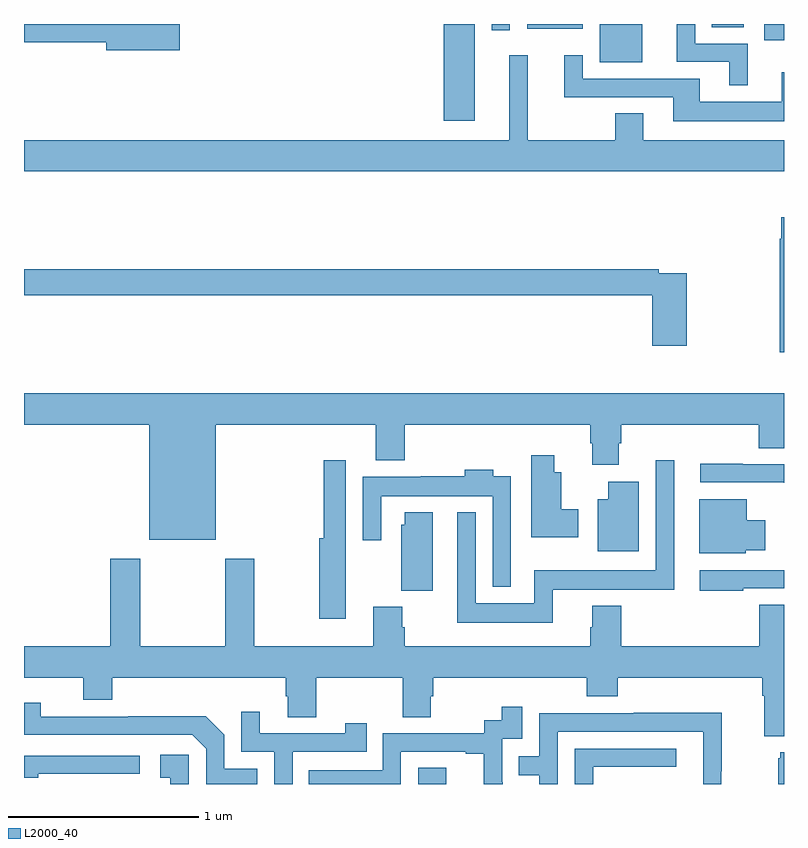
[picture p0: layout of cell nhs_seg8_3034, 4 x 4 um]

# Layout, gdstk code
import gdstk
lib = gdstk.Library(unit=1e-6, precision=1e-09)
def R(c, l, rs):  # rectangles x0, y0, x1, y1
    for r in rs: c.add(gdstk.rectangle(r[:2], r[2:], *l))
def P(c, l, *ps):  # polygons
    for p in ps: c.add(gdstk.Polygon(p, *l))
L2000_40 = (2000, 40)

nhs_seg8_3034 = lib.new_cell('nhs_seg8_3034')
R(nhs_seg8_3034, L2000_40, [(301.074,1155.9,301.222,1155.985), (301.208,1159.392,301.372,1159.9), (302.03,1159.7,302.254,1159.9), (302.897,1159.814,303,1159.9), (301.461,1159.866,301.557,1159.9), (301.649,1159.874,301.942,1159.9), (302.621,1159.882,302.788,1159.9)])
P(nhs_seg8_3034, L2000_40, [(299.821,1159.9),(299,1159.9),(299,1159.804),(299.432,1159.804),(299.432,1159.762),(299.821,1159.762)],
  [(302.809,1159.797),(302.532,1159.797),(302.532,1159.9),(302.435,1159.9),(302.435,1159.701),(302.711,1159.701),(302.711,1159.577),(302.809,1159.577)],
  [(303,1159.288),(302.26,1159.288),(302.26,1159.43),(302.113,1159.43),(302.113,1159.288),(301.652,1159.288),(301.652,1159.735),(301.553,1159.735),(301.553,1159.288),(299,1159.288),(299,1159.124),(303,1159.124)],
  [(303,1159.645),(302.987,1159.645),(302.987,1159.492),(302.557,1159.492),(302.557,1159.611),(301.941,1159.611),(301.941,1159.735),(301.844,1159.735),(301.844,1159.515),(302.417,1159.515),(302.417,1159.388),(303,1159.388)],
  [(303,1158.883),(302.985,1158.883),(302.985,1158.77),(302.977,1158.77),(302.977,1158.173),(303,1158.173)],
  [(302.489,1158.588),(302.342,1158.588),(302.342,1158.608),(299,1158.608),(299,1158.472),(302.306,1158.472),(302.306,1158.207),(302.489,1158.207)],
  [(300.01,1157.792),(300.851,1157.792),(300.851,1157.603),(301.004,1157.603),(301.004,1157.792),(301.979,1157.792),(301.979,1157.694),(301.991,1157.694),(301.991,1157.58),(302.131,1157.58),(302.131,1157.694),(302.144,1157.694),(302.144,1157.792),(302.867,1157.792),(302.867,1157.668),(303,1157.668),(303,1157.956),(299,1157.956),(299,1157.792),(299.66,1157.792),(299.66,1157.186),(300.01,1157.186)],
  [(301.918,1157.346),(301.828,1157.346),(301.828,1157.542),(301.792,1157.542),(301.792,1157.629),(301.67,1157.629),(301.67,1157.198),(301.918,1157.198)],
  [(301.784,1156.922),(302.422,1156.922),(302.422,1157.605),(302.325,1157.605),(302.325,1157.026),(301.686,1157.026),(301.686,1156.852),(301.377,1156.852),(301.377,1157.329),(301.28,1157.329),(301.28,1156.748),(301.784,1156.748)],
  [(300.694,1157.09),(300.693,1157.09),(300.693,1157.605),(300.577,1157.605),(300.577,1157.194),(300.553,1157.194),(300.553,1156.77),(300.694,1156.77)],
  [(303,1157.583),(302.783,1157.583),(302.783,1157.585),(302.559,1157.585),(302.559,1157.487),(302.999,1157.487),(302.999,1157.486),(303,1157.486)],
  [(301.563,1157.521),(301.471,1157.521),(301.471,1157.554),(301.319,1157.554),(301.319,1157.521),(301.087,1157.521),(301.087,1157.518),(300.783,1157.518),(300.783,1157.184),(300.879,1157.184),(300.879,1157.414),(301.467,1157.414),(301.467,1156.937),(301.563,1156.937)],
  [(302.236,1157.491),(302.075,1157.491),(302.075,1157.398),(302.021,1157.398),(302.021,1157.126),(302.236,1157.126)],
  [(302.799,1157.129),(302.902,1157.129),(302.902,1157.287),(302.803,1157.287),(302.803,1157.398),(302.555,1157.398),(302.555,1157.114),(302.799,1157.114)],
  [(301.15,1157.329),(301.004,1157.329),(301.004,1157.265),(300.986,1157.265),(300.986,1156.918),(301.15,1156.918)],
  [(303,1156.844),(302.87,1156.844),(302.87,1156.624),(302.144,1156.624),(302.144,1156.837),(301.991,1156.837),(301.991,1156.725),(301.979,1156.725),(301.979,1156.624),(301.004,1156.624),(301.004,1156.724),(300.991,1156.724),(300.991,1156.833),(300.839,1156.833),(300.839,1156.624),(300.213,1156.624),(300.213,1157.086),(300.058,1157.086),(300.058,1156.624),(299.613,1156.624),(299.613,1157.086),(299.453,1157.086),(299.453,1156.624),(299,1156.624),(299,1156.46),(299.312,1156.46),(299.312,1156.343),(299.465,1156.343),(299.465,1156.46),(300.377,1156.46),(300.377,1156.362),(300.389,1156.362),(300.389,1156.252),(300.537,1156.252),(300.537,1156.46),(300.994,1156.46),(300.994,1156.252),(301.141,1156.252),(301.141,1156.362),(301.154,1156.362),(301.154,1156.46),(301.961,1156.46),(301.961,1156.361),(302.126,1156.361),(302.126,1156.46),(302.885,1156.46),(302.885,1156.364),(302.897,1156.364),(302.897,1156.151),(303,1156.151)],
  [(302.786,1156.929),(303,1156.929),(303,1157.025),(302.556,1157.025),(302.556,1156.917),(302.786,1156.917)],
  [(300.228,1155.981),(300.054,1155.981),(300.054,1156.158),(299.956,1156.256),(299.548,1156.256),(299.548,1156.254),(299.088,1156.254),(299.088,1156.327),(299,1156.327),(299,1156.158),(299.886,1156.158),(299.958,1156.086),(299.958,1155.9),(300.228,1155.9)],
  [(300.984,1156.071),(301.325,1156.071),(301.325,1156.059),(301.421,1156.059),(301.421,1155.9),(301.52,1155.9),(301.52,1155.908),(301.518,1155.908),(301.518,1156.137),(301.623,1156.137),(301.623,1156.306),(301.515,1156.306),(301.515,1156.236),(301.422,1156.236),(301.422,1156.167),(300.888,1156.167),(300.888,1155.972),(300.499,1155.972),(300.499,1155.9),(300.984,1155.9)],
  [(300.414,1156.071),(300.803,1156.071),(300.803,1156.219),(300.692,1156.219),(300.692,1156.167),(300.241,1156.167),(300.241,1156.279),(300.144,1156.279),(300.144,1156.071),(300.318,1156.071),(300.318,1155.9),(300.414,1155.9)],
  [(301.809,1156.176),(302.574,1156.176),(302.574,1155.9),(302.67,1155.9),(302.67,1155.967),(302.673,1155.967),(302.673,1156.274),(302.209,1156.274),(302.209,1156.272),(301.713,1156.272),(301.713,1156.047),(301.603,1156.047),(301.603,1155.946),(301.713,1155.946),(301.713,1155.9),(301.809,1155.9)],
  [(301.995,1155.99),(302.434,1155.99),(302.434,1156.086),(301.899,1156.086),(301.899,1155.9),(301.995,1155.9)],
  [(303,1156.066),(302.981,1156.066),(302.981,1156.035),(302.969,1156.035),(302.969,1155.9),(303,1155.9)],
  [(299.868,1156.054),(299.718,1156.054),(299.718,1155.933),(299.771,1155.933),(299.771,1155.9),(299.868,1155.9)],
  [(299.075,1155.954),(299.608,1155.954),(299.608,1156.05),(299,1156.05),(299,1155.934),(299.075,1155.934)])

lib.write_gds('nhs_seg8_3034.gds')
